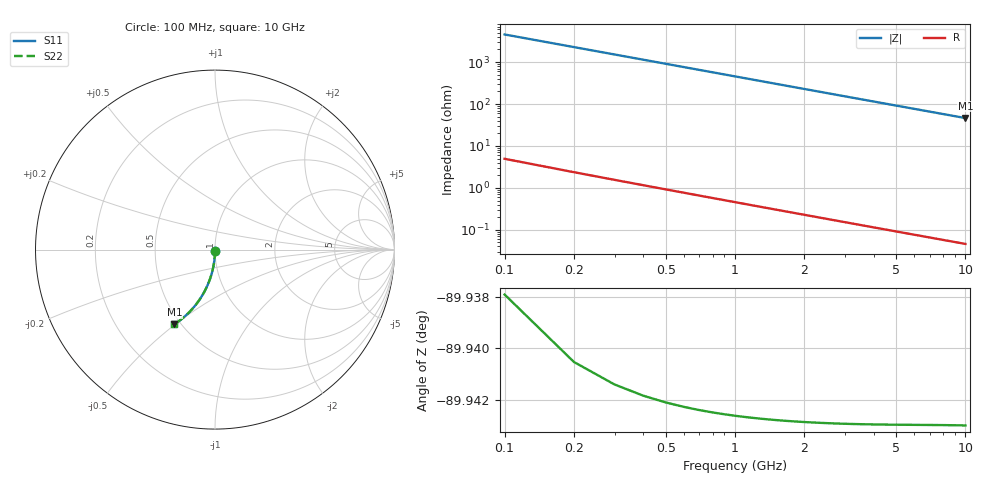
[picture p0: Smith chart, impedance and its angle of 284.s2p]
# Hz S RI R 50.00
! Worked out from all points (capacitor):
!   100 points, 100 MHz to 10 GHz, reference 50 ohm
!   read as one part in shunt: C = 349 fF near 100 MHz
!   lowest |Z| = 46.3 ohm at 10 GHz (marker M1)
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1e8  -3.26e-05 -0.00546  1 -0.0055  1 -0.0055  -3.26e-05 -0.00546
2e8  -0.000128 -0.0109  0.9999 -0.011  0.9999 -0.011  -0.000128 -0.0109
3e8  -0.000284 -0.0164  0.9997 -0.0165  0.9997 -0.0165  -0.000284 -0.0164
4e8  -0.000499 -0.0218  0.9995 -0.022  0.9995 -0.022  -0.000499 -0.0218
5e8  -0.000775 -0.0273  0.9992 -0.0275  0.9992 -0.0275  -0.000775 -0.0273
6e8  -0.00111 -0.0327  0.9989 -0.033  0.9989 -0.033  -0.00111 -0.0327
7e8  -0.0015 -0.0382  0.9985 -0.0384  0.9985 -0.0384  -0.0015 -0.0382
8e8  -0.00196 -0.0436  0.998 -0.0439  0.998 -0.0439  -0.00196 -0.0436
9e8  -0.00247 -0.049  0.9975 -0.0494  0.9975 -0.0494  -0.00247 -0.049
1.1e9  -0.00367 -0.0598  0.9963 -0.0602  0.9963 -0.0602  -0.00367 -0.0598
1.4e9  -0.00591 -0.0759  0.9941 -0.0765  0.9941 -0.0765  -0.00591 -0.0759
1.8e9  -0.0097 -0.0972  0.9903 -0.0979  0.9903 -0.0979  -0.0097 -0.0972
2.1e9  -0.0131 -0.1129  0.9869 -0.1137  0.9869 -0.1137  -0.0131 -0.1129
2.5e9  -0.0184 -0.1336  0.9815 -0.1346  0.9815 -0.1346  -0.0184 -0.1336
2.9e9  -0.0246 -0.1539  0.9754 -0.155  0.9754 -0.155  -0.0246 -0.1539
3.4e9  -0.0334 -0.1786  0.9666 -0.1799  0.9666 -0.1799  -0.0334 -0.1786
4.2e9  -0.05 -0.2165  0.95 -0.2182  0.95 -0.2182  -0.05 -0.2165
5.1e9  -0.0717 -0.2565  0.9283 -0.2585  0.9283 -0.2585  -0.0717 -0.2565
5.9e9  -0.0934 -0.2894  0.9065 -0.2918  0.9065 -0.2918  -0.0934 -0.2894
6.7e9  -0.1171 -0.3197  0.8829 -0.3224  0.8829 -0.3224  -0.1171 -0.3197
8.4e9  -0.1718 -0.375  0.8282 -0.3784  0.8282 -0.3784  -0.1718 -0.375
1e10  -0.2265 -0.4161  0.7735 -0.4201  0.7735 -0.4201  -0.2265 -0.4161
